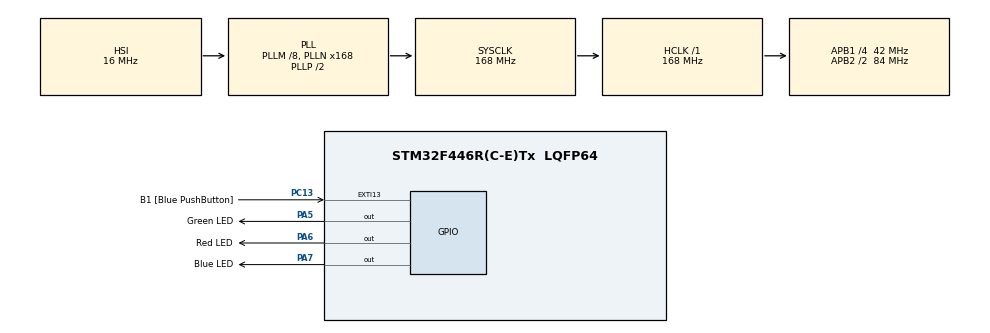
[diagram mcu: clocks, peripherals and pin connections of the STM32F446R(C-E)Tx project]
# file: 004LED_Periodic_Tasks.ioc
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Mcu.Family=STM32F4
Mcu.Name=STM32F446R(C-E)Tx
Mcu.Package=LQFP64
NVIC.PriorityGroup=NVIC_PRIORITYGROUP_0
NVIC.TIM6_DAC_IRQn=true\:0\:0\:false\:false\:true\:false\:true\:true
NVIC.TimeBase=TIM6_DAC_IRQn
NVIC.TimeBaseIP=TIM6
PA13.GPIO_Label=TMS
PA13.Signal=SYS_JTMS-SWDIO
PA14.GPIO_Label=TCK
PA14.Signal=SYS_JTCK-SWCLK
PA2.GPIO_Label=USART_TX
PA2.Signal=USART2_TX
PA3.GPIO_Label=USART_RX
PA3.Signal=USART2_RX
PA5.GPIO_Label=Green LED
PA5.Signal=GPIO_Output
PA6.GPIO_Label=Red LED
PA6.Signal=GPIO_Output
PA7.GPIO_Label=Blue LED
PA7.Signal=GPIO_Output
PB3.GPIO_Label=SWO
PB3.Signal=SYS_JTDO-SWO
PC13.GPIO_Label=B1 [Blue PushButton]
PC13.GPIO_ModeDefaultEXTI=GPIO_MODE_IT_FALLING
PC13.Signal=GPXTI13
PC14-OSC32_IN.Signal=RCC_OSC32_IN
PC15-OSC32_OUT.Signal=RCC_OSC32_OUT
PH0-OSC_IN.Signal=RCC_OSC_IN
PH1-OSC_OUT.Signal=RCC_OSC_OUT
ProjectManager.HeapSize=0x200
ProjectManager.StackSize=0x400
ProjectManager.TargetToolchain=STM32CubeIDE
RCC.AHBFreq_Value=168000000
RCC.APB1CLKDivider=RCC_HCLK_DIV4
RCC.APB1Freq_Value=42000000
RCC.APB1TimFreq_Value=84000000
RCC.APB2CLKDivider=RCC_HCLK_DIV2
RCC.APB2Freq_Value=84000000
RCC.APB2TimFreq_Value=168000000
RCC.CortexFreq_Value=168000000
RCC.FLatency-AdvancedSettings=FLASH_LATENCY_5
RCC.HCLKFreq_Value=168000000
RCC.HSE_VALUE=8000000
RCC.HSI_VALUE=16000000
RCC.LSE_VALUE=32768
RCC.PLLM=8
RCC.PLLN=168
RCC.SYSCLKFreq_VALUE=168000000
RCC.SYSCLKSource=RCC_SYSCLKSOURCE_PLLCLK
RCC.USBFreq_Value=168000000
RCC.VCOOutputFreq_Value=336000000
VP_SYS_VS_tim6.Mode=TIM6
board=NUCLEO-F446RE

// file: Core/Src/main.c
/* USER CODE BEGIN Header */
/**
  ******************************************************************************
  * @file           : main.c
  * @brief          : Main program body
  ******************************************************************************
  * @attention
  *
  * Copyright (c) 2022 STMicroelectronics.
  * All rights reserved.
  *
  * This software is licensed under terms that can be found in the LICENSE file
  * in the root directory of this software component.
  * If no LICENSE file comes with this software, it is provided AS-IS.
  *
  ******************************************************************************
  */
/* USER CODE END Header */
#include "main.h"

/* USER CODE BEGIN Includes */
#include "stdio.h"
#include "FreeRTOS.h"
#include "task.h"
/* USER CODE END Includes */

/* USER CODE BEGIN PV */
#define DWT_CTRL 				(*(volatile uint32_t*)0xE0001000)
/* USER CODE END PV */

void SystemClock_Config(void);
static void MX_GPIO_Init(void);
/* USER CODE BEGIN PFP */
extern  void SEGGER_UART_init(uint32_t);
/* USER CODE END PFP */

/* USER CODE BEGIN 0 */
static void led_green_handler(void* param);
static void led_red_handler(void* param);
static void led_blue_handler(void* param);
/* USER CODE END 0 */

int main(void)
{

  /* MCU Configuration--------------------------------------------------------*/

  /* Reset of all peripherals, Initializes the Flash interface and the Systick. */
  HAL_Init();

  /* Configure the system clock */
  SystemClock_Config();

  /* Initialize all configured peripherals */
  MX_GPIO_Init();
  /* USER CODE BEGIN 2 */
  BaseType_t status;

  TaskHandle_t task1_handle;
  TaskHandle_t task2_handle;
  TaskHandle_t task3_handle;

  // Enable the CYCCNT counter
  DWT_CTRL |= (1 << 0);

  SEGGER_UART_init(500000);
  SEGGER_SYSVIEW_Conf();

  status = xTaskCreate(led_green_handler,"LED_green_task",200,NULL,2,&task1_handle);
  configASSERT(status == pdPASS);

  status = xTaskCreate(led_red_handler,"LED_red_task",200,NULL,2,&task2_handle);
  configASSERT(status == pdPASS);

  status = xTaskCreate(led_blue_handler,"LED_blue_task",200,NULL,2,&task3_handle);
  configASSERT(status == pdPASS);

  // Start the real time scheduler
    vTaskStartScheduler();

  /* USER CODE END 2 */

  /* Infinite loop */
  while (1)
  {

  }
}

void SystemClock_Config(void)
{
  RCC_OscInitTypeDef RCC_OscInitStruct = {0};
  RCC_ClkInitTypeDef RCC_ClkInitStruct = {0};

  /** Configure the main internal regulator output voltage
  */
  __HAL_RCC_PWR_CLK_ENABLE();
  __HAL_PWR_VOLTAGESCALING_CONFIG(PWR_REGULATOR_VOLTAGE_SCALE1);

  /** Initializes the RCC Oscillators according to the specified parameters
  * in the RCC_OscInitTypeDef structure.
  */
  RCC_OscInitStruct.OscillatorType = RCC_OSCILLATORTYPE_HSI;
  RCC_OscInitStruct.HSIState = RCC_HSI_ON;
  RCC_OscInitStruct.HSICalibrationValue = RCC_HSICALIBRATION_DEFAULT;
  RCC_OscInitStruct.PLL.PLLState = RCC_PLL_ON;
  RCC_OscInitStruct.PLL.PLLSource = RCC_PLLSOURCE_HSI;
  RCC_OscInitStruct.PLL.PLLM = 8;
  RCC_OscInitStruct.PLL.PLLN = 168;
  RCC_OscInitStruct.PLL.PLLP = RCC_PLLP_DIV2;
  RCC_OscInitStruct.PLL.PLLQ = 2;
  RCC_OscInitStruct.PLL.PLLR = 2;
  if (HAL_RCC_OscConfig(&RCC_OscInitStruct) != HAL_OK)
  {
    Error_Handler();
  }

  /** Initializes the CPU, AHB and APB buses clocks
  */
  RCC_ClkInitStruct.ClockType = RCC_CLOCKTYPE_HCLK|RCC_CLOCKTYPE_SYSCLK
                              |RCC_CLOCKTYPE_PCLK1|RCC_CLOCKTYPE_PCLK2;
  RCC_ClkInitStruct.SYSCLKSource = RCC_SYSCLKSOURCE_PLLCLK;
  RCC_ClkInitStruct.AHBCLKDivider = RCC_SYSCLK_DIV1;
  RCC_ClkInitStruct.APB1CLKDivider = RCC_HCLK_DIV4;
  RCC_ClkInitStruct.APB2CLKDivider = RCC_HCLK_DIV2;

  if (HAL_RCC_ClockConfig(&RCC_ClkInitStruct, FLASH_LATENCY_5) != HAL_OK)
  {
    Error_Handler();
  }
}

static void MX_GPIO_Init(void)
{
  GPIO_InitTypeDef GPIO_InitStruct = {0};

  /* GPIO Ports Clock Enable */
  __HAL_RCC_GPIOC_CLK_ENABLE();
  __HAL_RCC_GPIOH_CLK_ENABLE();
  __HAL_RCC_GPIOA_CLK_ENABLE();
  __HAL_RCC_GPIOB_CLK_ENABLE();

  /*Configure GPIO pin Output Level */
  HAL_GPIO_WritePin(GPIOA, Green_LED_Pin|Red_LED_Pin|Blue_LED_Pin, GPIO_PIN_RESET);

  /*Configure GPIO pin : B1_Pin */
  GPIO_InitStruct.Pin = B1_Pin;
  GPIO_InitStruct.Mode = GPIO_MODE_IT_FALLING;
  GPIO_InitStruct.Pull = GPIO_NOPULL;
  HAL_GPIO_Init(B1_GPIO_Port, &GPIO_InitStruct);

  /*Configure GPIO pins : USART_TX_Pin USART_RX_Pin */
  GPIO_InitStruct.Pin = USART_TX_Pin|USART_RX_Pin;
  GPIO_InitStruct.Mode = GPIO_MODE_AF_PP;
  GPIO_InitStruct.Pull = GPIO_NOPULL;
  GPIO_InitStruct.Speed = GPIO_SPEED_FREQ_VERY_HIGH;
  GPIO_InitStruct.Alternate = GPIO_AF7_USART2;
  HAL_GPIO_Init(GPIOA, &GPIO_InitStruct);

  /*Configure GPIO pins : Green_LED_Pin Red_LED_Pin Blue_LED_Pin */
  GPIO_InitStruct.Pin = Green_LED_Pin|Red_LED_Pin|Blue_LED_Pin;
  GPIO_InitStruct.Mode = GPIO_MODE_OUTPUT_PP;
  GPIO_InitStruct.Pull = GPIO_NOPULL;
  GPIO_InitStruct.Speed = GPIO_SPEED_FREQ_LOW;
  HAL_GPIO_Init(GPIOA, &GPIO_InitStruct);

}

/* USER CODE BEGIN 4 */
static void led_green_handler(void* param){
	TickType_t xLastWakeTime;

	// Initialise the xLastWakeTime variable with the current time.
	xLastWakeTime = xTaskGetTickCount();
	while(1) {
		SEGGER_SYSVIEW_PrintfTarget("Toggling green LED");
		HAL_GPIO_TogglePin(GPIOA,Green_LED_Pin);

		// Wait for the next cycle.
		xTaskDelayUntil( &xLastWakeTime,1000);
	}

}
static void led_red_handler(void* param){
	TickType_t xLastWakeTime;

	// Initialise the xLastWakeTime variable with the current time.
	xLastWakeTime = xTaskGetTickCount();
	while(1) {
		SEGGER_SYSVIEW_PrintfTarget("Toggling red LED");
		HAL_GPIO_TogglePin(GPIOA,Red_LED_Pin);

		// Wait for the next cycle.
		xTaskDelayUntil( &xLastWakeTime,800);
	}
}
static void led_blue_handler(void* param){
	TickType_t xLastWakeTime;

	// Initialise the xLastWakeTime variable with the current time.
	xLastWakeTime = xTaskGetTickCount();
	while(1) {
		SEGGER_SYSVIEW_PrintfTarget("Toggling blue LED");
		HAL_GPIO_TogglePin(GPIOA,Blue_LED_Pin);

		// Wait for the next cycle.
		xTaskDelayUntil( &xLastWakeTime,400);
	}
}

/* USER CODE END 4 */

void HAL_TIM_PeriodElapsedCallback(TIM_HandleTypeDef *htim)
{
  if (htim->Instance == TIM6) {
    HAL_IncTick();
  }
}

void Error_Handler(void)
{
  __disable_irq();
  while (1)
  {
  }
}
